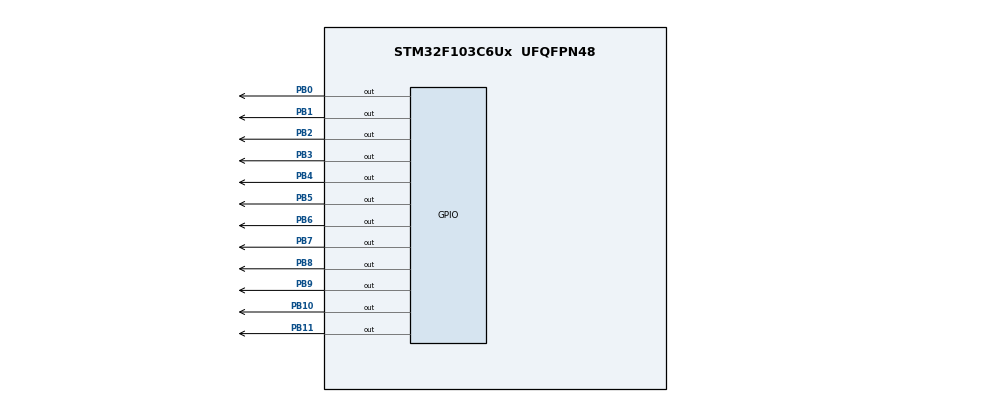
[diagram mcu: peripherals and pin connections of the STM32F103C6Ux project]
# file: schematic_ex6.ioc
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Mcu.Family=STM32F1
Mcu.Name=STM32F103C6Ux
Mcu.Package=UFQFPN48
NVIC.PriorityGroup=NVIC_PRIORITYGROUP_4
PA13.Mode=Serial_Wire
PA13.Signal=SYS_JTMS-SWDIO
PA14.Mode=Serial_Wire
PA14.Signal=SYS_JTCK-SWCLK
PB0.Signal=GPIO_Output
PB1.Signal=GPIO_Output
PB10.Signal=GPIO_Output
PB11.Signal=GPIO_Output
PB2.Signal=GPIO_Output
PB3.Signal=GPIO_Output
PB4.Signal=GPIO_Output
PB5.Signal=GPIO_Output
PB6.Signal=GPIO_Output
PB7.Signal=GPIO_Output
PB8.Signal=GPIO_Output
PB9.Signal=GPIO_Output
ProjectManager.HeapSize=0x200
ProjectManager.StackSize=0x400
ProjectManager.TargetToolchain=STM32CubeIDE
RCC.APB1Freq_Value=8000000
RCC.APB2Freq_Value=8000000
board=custom

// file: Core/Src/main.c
/* USER CODE BEGIN Header */
/**
  ******************************************************************************
  * @file           : main.c
  * @brief          : Main program body
  ******************************************************************************
  * @attention
  *
  * <h2><center>&copy; Copyright (c) 2026 STMicroelectronics.
  * All rights reserved.</center></h2>
  *
  * This software component is licensed by ST under BSD 3-Clause license,
  * the "License"; You may not use this file except in compliance with the
  * License. You may obtain a copy of the License at:
  *                        opensource.org/licenses/BSD-3-Clause
  *
  ******************************************************************************
  */
/* USER CODE END Header */
#include "main.h"

void SystemClock_Config(void);
static void MX_GPIO_Init(void);

/* USER CODE BEGIN 0 */
void clearDisplay() {
	HAL_GPIO_WritePin(GPIOB, GPIO_PIN_0 | GPIO_PIN_1 | GPIO_PIN_2 |
							 GPIO_PIN_3 | GPIO_PIN_4 | GPIO_PIN_5 |
							 GPIO_PIN_6 | GPIO_PIN_7 | GPIO_PIN_8 |
							 GPIO_PIN_9 | GPIO_PIN_10| GPIO_PIN_11 , GPIO_PIN_SET);
}

void displayAnalog(int time) {
	static const uint16_t clock_pins[12] = {
		GPIO_PIN_0,
		GPIO_PIN_1,
		GPIO_PIN_2,
		GPIO_PIN_3,
		GPIO_PIN_4,
		GPIO_PIN_5,
		GPIO_PIN_6,
		GPIO_PIN_7,
		GPIO_PIN_8,
		GPIO_PIN_9,
		GPIO_PIN_10,
		GPIO_PIN_11
	};
	if (time < 0 || time > 11) return;
	HAL_GPIO_WritePin(GPIOB, clock_pins[time], GPIO_PIN_RESET);
}
/* USER CODE END 0 */

int main(void)
{

  /* MCU Configuration--------------------------------------------------------*/

  /* Reset of all peripherals, Initializes the Flash interface and the Systick. */
  HAL_Init();

  /* Configure the system clock */
  SystemClock_Config();

  /* Initialize all configured peripherals */
  MX_GPIO_Init();
  /* USER CODE BEGIN 2 */
  int hour = 2;
  int minute = 20;
  int second = 45;
  /* USER CODE END 2 */

  /* Infinite loop */
  /* USER CODE BEGIN WHILE */
  while (1)
  {
	  clearDisplay();
	  displayAnalog(hour % 12);
	  displayAnalog(minute / 5);
	  displayAnalog(second / 5);

	  second++;
	  if (second >= 60) {
		  second = 0;
		  minute++;
		  if (minute >= 60) {
			  minute = 0;
			  hour++;
			  if (hour >= 24) hour = 0;
		  }
	  }
	  HAL_Delay(50);
    /* USER CODE END WHILE */

  }
}

void SystemClock_Config(void)
{
  RCC_OscInitTypeDef RCC_OscInitStruct = {0};
  RCC_ClkInitTypeDef RCC_ClkInitStruct = {0};

  /** Initializes the RCC Oscillators according to the specified parameters
  * in the RCC_OscInitTypeDef structure.
  */
  RCC_OscInitStruct.OscillatorType = RCC_OSCILLATORTYPE_HSI;
  RCC_OscInitStruct.HSIState = RCC_HSI_ON;
  RCC_OscInitStruct.HSICalibrationValue = RCC_HSICALIBRATION_DEFAULT;
  RCC_OscInitStruct.PLL.PLLState = RCC_PLL_NONE;
  if (HAL_RCC_OscConfig(&RCC_OscInitStruct) != HAL_OK)
  {
    Error_Handler();
  }
  /** Initializes the CPU, AHB and APB buses clocks
  */
  RCC_ClkInitStruct.ClockType = RCC_CLOCKTYPE_HCLK|RCC_CLOCKTYPE_SYSCLK
                              |RCC_CLOCKTYPE_PCLK1|RCC_CLOCKTYPE_PCLK2;
  RCC_ClkInitStruct.SYSCLKSource = RCC_SYSCLKSOURCE_HSI;
  RCC_ClkInitStruct.AHBCLKDivider = RCC_SYSCLK_DIV1;
  RCC_ClkInitStruct.APB1CLKDivider = RCC_HCLK_DIV1;
  RCC_ClkInitStruct.APB2CLKDivider = RCC_HCLK_DIV1;

  if (HAL_RCC_ClockConfig(&RCC_ClkInitStruct, FLASH_LATENCY_0) != HAL_OK)
  {
    Error_Handler();
  }
}

static void MX_GPIO_Init(void)
{
  GPIO_InitTypeDef GPIO_InitStruct = {0};

  /* GPIO Ports Clock Enable */
  __HAL_RCC_GPIOB_CLK_ENABLE();
  __HAL_RCC_GPIOA_CLK_ENABLE();

  /*Configure GPIO pin Output Level */
  HAL_GPIO_WritePin(GPIOB, GPIO_PIN_0|GPIO_PIN_1|GPIO_PIN_2|GPIO_PIN_10
                          |GPIO_PIN_11|GPIO_PIN_3|GPIO_PIN_4|GPIO_PIN_5
                          |GPIO_PIN_6|GPIO_PIN_7|GPIO_PIN_8|GPIO_PIN_9, GPIO_PIN_RESET);

  /*Configure GPIO pins : PB0 PB1 PB2 PB10
                           PB11 PB3 PB4 PB5
                           PB6 PB7 PB8 PB9 */
  GPIO_InitStruct.Pin = GPIO_PIN_0|GPIO_PIN_1|GPIO_PIN_2|GPIO_PIN_10
                          |GPIO_PIN_11|GPIO_PIN_3|GPIO_PIN_4|GPIO_PIN_5
                          |GPIO_PIN_6|GPIO_PIN_7|GPIO_PIN_8|GPIO_PIN_9;
  GPIO_InitStruct.Mode = GPIO_MODE_OUTPUT_PP;
  GPIO_InitStruct.Pull = GPIO_NOPULL;
  GPIO_InitStruct.Speed = GPIO_SPEED_FREQ_LOW;
  HAL_GPIO_Init(GPIOB, &GPIO_InitStruct);

}

void Error_Handler(void)
{
  __disable_irq();
  while (1)
  {
  }
}

/************************ (C) COPYRIGHT STMicroelectronics *****END OF FILE****/
